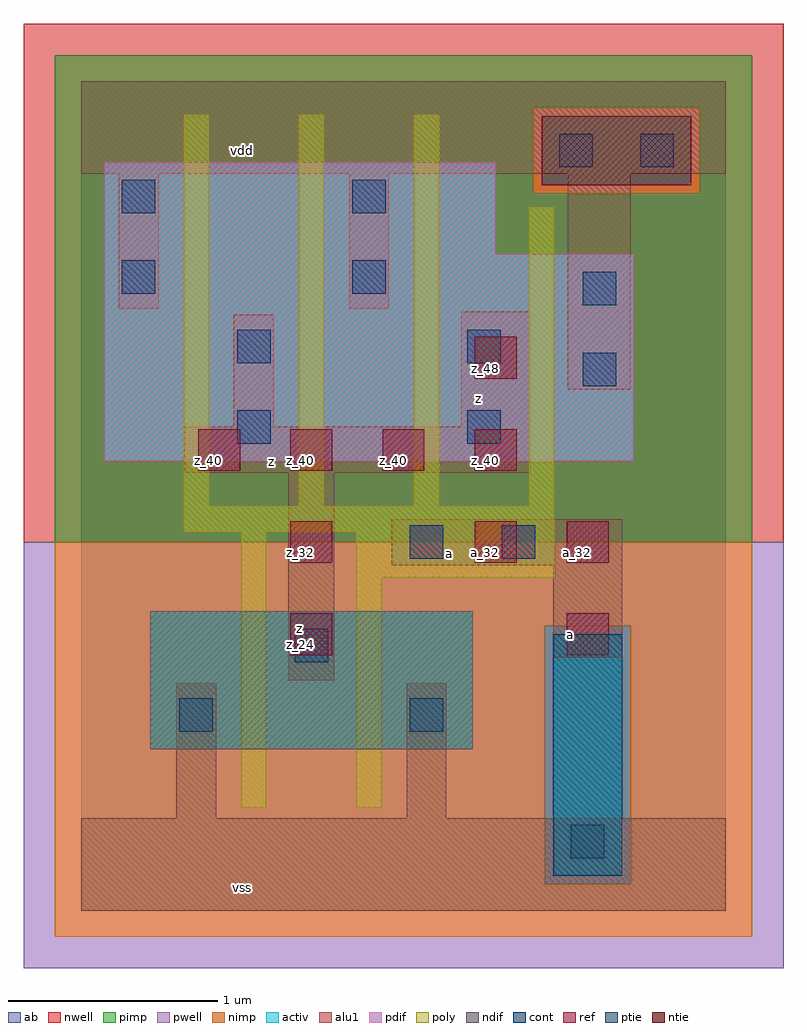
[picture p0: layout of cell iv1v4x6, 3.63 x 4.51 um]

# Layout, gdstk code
import gdstk
lib = gdstk.Library(unit=1e-6, precision=2.5e-09)
def R(c, l, rs):  # rectangles x0, y0, x1, y1
    for r in rs: c.add(gdstk.rectangle(r[:2], r[2:], *l))
def A(c, l, x, y, w, h, nx, ny, dx, dy):  # array of equal rectangles
    R(c, l, [(x+i*dx, y+j*dy, x+i*dx+w, y+j*dy+h) for i in range(nx) for j in range(ny)])
ndif = (3, 0)
pdif = (4, 0)
ntie = (5, 0)
ptie = (6, 0)
ref = (24, 0)
cont = (25, 0)
pwell = (41, 0)
nwell = (42, 0)
activ = (43, 0)
pimp = (44, 0)
nimp = (45, 0)
poly = (46, 0)
alu1 = (49, 0)
ab = (63, 0)

iv1v4x6 = lib.new_cell('iv1v4x6')
R(iv1v4x6, ndif, [(0.33,0.77,1.87,1.43)])
R(iv1v4x6, pdif, [(0.11,2.145,2.64,3.135), (0.11,3.135,1.98,3.575)])
R(iv1v4x6, ntie, [(2.2,3.465,2.915,3.795)])
R(iv1v4x6, ptie, [(2.255,0.165,2.585,1.32)])
A(iv1v4x6, ref, 0.56, 2.1, 0.2, 0.2, 4, 1, 0.44, 0)
R(iv1v4x6, ref, [(1,1.22,1.2,1.42), (2.32,1.22,2.52,1.42), (1,1.66,1.2,1.86), (1.88,1.66,2.08,1.86), (2.32,1.66,2.52,1.86), (1.88,2.54,2.08,2.74)])
R(iv1v4x6, cont, [(2.34,0.25,2.5,0.41), (0.47,0.855,0.63,1.015), (1.57,0.855,1.73,1.015), (1.02,1.185,1.18,1.345), (1.57,1.68,1.73,1.84), (2.01,1.68,2.17,1.84), (0.745,2.23,0.905,2.39), (1.845,2.23,2.005,2.39), (2.395,2.505,2.555,2.665), (0.745,2.615,0.905,2.775), (1.845,2.615,2.005,2.775), (2.395,2.89,2.555,3.05), (0.195,2.945,0.355,3.105), (1.295,2.945,1.455,3.105), (0.195,3.33,0.355,3.49), (1.295,3.33,1.455,3.49), (2.285,3.55,2.445,3.71), (2.67,3.55,2.83,3.71)])
R(iv1v4x6, pwell, [(-0.275,-0.275,3.355,1.76)])
R(iv1v4x6, nwell, [(-0.275,1.76,3.355,4.235)])
R(iv1v4x6, activ, [(2.255,0.165,2.585,1.32), (0.33,0.77,1.87,1.43), (0.11,2.145,2.64,3.135), (0.11,3.135,1.98,3.575), (2.2,3.465,2.915,3.795)])
R(iv1v4x6, pimp, [(2.215,0.125,2.625,1.36), (-0.125,1.76,3.205,3.425), (-0.125,3.425,2.16,3.835), (2.955,3.425,3.205,3.835), (-0.125,3.835,3.205,4.085)])
R(iv1v4x6, nimp, [(-0.125,-0.125,3.205,0.125), (-0.125,0.125,2.215,1.36), (2.625,0.125,3.205,1.36), (-0.125,1.36,3.205,1.76), (2.16,3.425,2.955,3.835)])
A(iv1v4x6, poly, 0.49, 1.93, 0.12, 1.87, 3, 1, 0.55, 0)
R(iv1v4x6, poly, [(0.765,0.49,0.885,1.81), (1.315,0.49,1.435,1.59), (1.315,1.59,2.26,1.81), (0.49,1.81,2.26,1.93), (2.14,1.93,2.26,3.36)])
R(iv1v4x6, alu1, [(0,0,3.08,0.44), (0.455,0.44,0.645,1.085), (1.555,0.44,1.745,1.085), (0.99,1.1,1.21,2.09), (2.255,1.21,2.585,1.65), (1.485,1.65,2.585,1.87), (0.495,2.09,2.145,2.31), (0.73,2.31,0.92,2.845), (1.815,2.31,2.145,2.86), (2.325,2.49,2.625,3.52), (0.18,2.875,0.37,3.52), (1.28,2.875,1.47,3.52), (0,3.52,3.08,3.96)])
R(iv1v4x6, ab, [(0,0,3.08,3.96)])
iv1v4x6.add(gdstk.Label('vss', (0.77,0.11), layer=49, texttype=0))
iv1v4x6.add(gdstk.Label('a', (2.3375,1.32), layer=49, texttype=0))
iv1v4x6.add(gdstk.Label('a', (1.76,1.705), layer=49, texttype=0))
iv1v4x6.add(gdstk.Label('z', (1.045,1.3475), layer=49, texttype=0))
iv1v4x6.add(gdstk.Label('z', (0.9075,2.145), layer=49, texttype=0))
iv1v4x6.add(gdstk.Label('z', (1.8975,2.4475), layer=49, texttype=0))
iv1v4x6.add(gdstk.Label('vdd', (0.77,3.63), layer=49, texttype=0))
iv1v4x6.add(gdstk.Label('z_40', (0.61,2.15), layer=24, texttype=0))
iv1v4x6.add(gdstk.Label('z_24', (1.05,1.27), layer=24, texttype=0))
iv1v4x6.add(gdstk.Label('z_32', (1.05,1.71), layer=24, texttype=0))
iv1v4x6.add(gdstk.Label('z_40', (1.05,2.15), layer=24, texttype=0))
iv1v4x6.add(gdstk.Label('z_40', (1.49,2.15), layer=24, texttype=0))
iv1v4x6.add(gdstk.Label('a_32', (1.93,1.71), layer=24, texttype=0))
iv1v4x6.add(gdstk.Label('z_40', (1.93,2.15), layer=24, texttype=0))
iv1v4x6.add(gdstk.Label('z_48', (1.93,2.59), layer=24, texttype=0))
iv1v4x6.add(gdstk.Label('a_24', (2.37,1.27), layer=24, texttype=0))
iv1v4x6.add(gdstk.Label('a_32', (2.37,1.71), layer=24, texttype=0))

lib.write_gds('iv1v4x6.gds')
